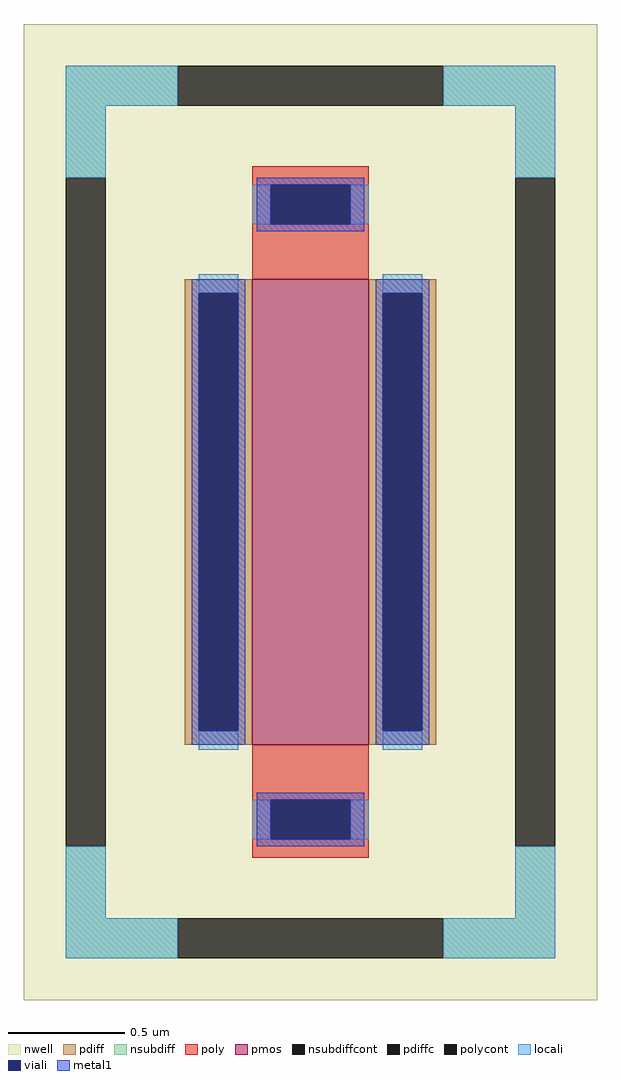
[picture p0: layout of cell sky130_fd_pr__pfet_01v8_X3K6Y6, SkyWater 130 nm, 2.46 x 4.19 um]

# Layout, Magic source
magic
tech sky130A
magscale 1 2
<< nwell >>
rect -246 -419 246 419
<< pmos >>
rect -50 -200 50 200
<< pdiff >>
rect -108 188 -50 200
rect -108 -188 -96 188
rect -62 -188 -50 188
rect -108 -200 -50 -188
rect 50 188 108 200
rect 50 -188 62 188
rect 96 -188 108 188
rect 50 -200 108 -188
<< pdiffc >>
rect -96 -188 -62 188
rect 62 -188 96 188
<< nsubdiff >>
rect -210 349 -114 383
rect 114 349 210 383
rect -210 287 -176 349
rect 176 287 210 349
rect -210 -349 -176 -287
rect 176 -349 210 -287
rect -210 -383 -114 -349
rect 114 -383 210 -349
<< nsubdiffcont >>
rect -114 349 114 383
rect -210 -287 -176 287
rect 176 -287 210 287
rect -114 -383 114 -349
<< poly >>
rect -50 281 50 297
rect -50 247 -34 281
rect 34 247 50 281
rect -50 200 50 247
rect -50 -247 50 -200
rect -50 -281 -34 -247
rect 34 -281 50 -247
rect -50 -297 50 -281
<< polycont >>
rect -34 247 34 281
rect -34 -281 34 -247
<< locali >>
rect -210 349 -114 383
rect 114 349 210 383
rect -210 287 -176 349
rect 176 287 210 349
rect -50 247 -34 281
rect 34 247 50 281
rect -96 188 -62 204
rect -96 -204 -62 -188
rect 62 188 96 204
rect 62 -204 96 -188
rect -50 -281 -34 -247
rect 34 -281 50 -247
rect -210 -349 -176 -287
rect 176 -349 210 -287
rect -210 -383 -114 -349
rect 114 -383 210 -349
<< viali >>
rect -34 247 34 281
rect -96 -188 -62 188
rect 62 -188 96 188
rect -34 -281 34 -247
<< metal1 >>
rect -46 281 46 287
rect -46 247 -34 281
rect 34 247 46 281
rect -46 241 46 247
rect -102 188 -56 200
rect -102 -188 -96 188
rect -62 -188 -56 188
rect -102 -200 -56 -188
rect 56 188 102 200
rect 56 -188 62 188
rect 96 -188 102 188
rect 56 -200 102 -188
rect -46 -247 46 -241
rect -46 -281 -34 -247
rect 34 -281 46 -247
rect -46 -287 46 -281
<< properties >>
string FIXED_BBOX -193 -366 193 366
string gencell sky130_fd_pr__pfet_01v8
string library sky130
string parameters w 2.0 l 0.5 m 1 nf 1 diffcov 100 polycov 100 guard 1 glc 1 grc 1 gtc 1 gbc 1 tbcov 100 rlcov 100 topc 1 botc 1 poverlap 0 doverlap 1 lmin 0.35 wmin 0.42 compatible {sky130_fd_pr__pfet_01v8  sky130_fd_pr__pfet_01v8_lvt sky130_fd_pr__pfet_01v8_hvt  sky130_fd_pr__pfet_g5v0d10v5} full_metal 1 viasrc 100 viadrn 100 viagate 100 viagb 0 viagr 0 viagl 0 viagt 0
<< end >>
